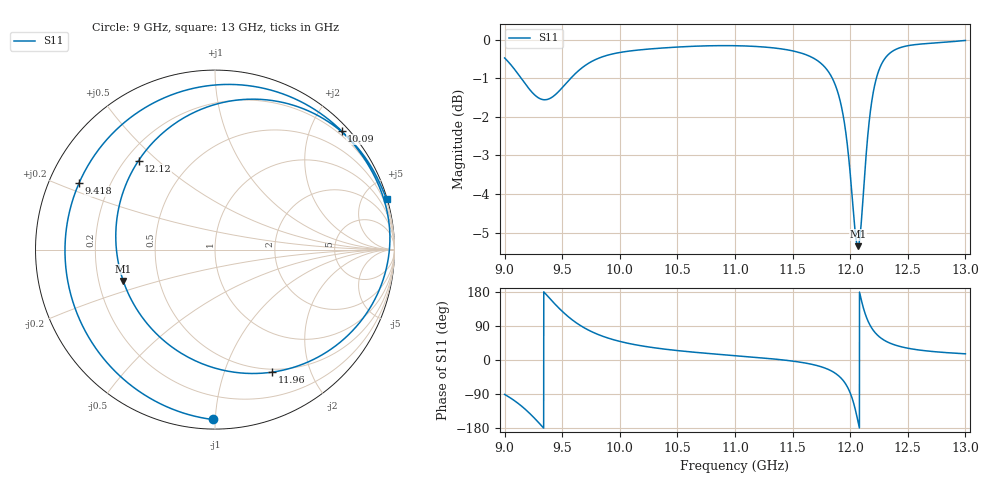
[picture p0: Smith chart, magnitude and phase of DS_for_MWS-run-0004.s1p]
! TOUCHSTONE file generated by CST DESIGN STUDIO
! Date and time: Tue Feb  4 16:20:39 2025
! Project name: C:\Work\MatlabApps\UnitCellOptimizationMatlab\CST\unitcell.cst
! Tree item: Tasks\Sweep1\SPara1\S-Parameters
! Header version: 2024
! Port assignment regex: !\s*Touchstone port\s*([0-9]+)\s*=\s*(CST MWS port|CST DES external port|CST DES block port)\s*(.+)\s* \(\"(.*)\"\)(\s*mode\s*([0-9]+))?.*
! Touchstone port assignment:
! Touchstone port 1 = CST DES external port 1 ("")
# GHz S MA R 50
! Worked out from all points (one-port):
!   4001 points, 9 GHz to 13 GHz, reference 50 ohm
!   lowest |S11| = -5.3 dB at 12.07 GHz (marker M1), VSWR 3.35, Z = 15.3 - j7.57 ohm
!   |S11| at or under -10 dB: nowhere
!   S11 on the Smith chart (normalised r, x): 9 GHz: 0.05, -0.98; 9.418 GHz: 0.09, +0.23; 10.09 GHz: 0.13, +2.52; 11.96 GHz: 0.46, -1.47; 12.12 GHz: 0.25, +0.44; 13 GHz: 0.06, +6.95
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9  0.9466 -90.8
9.099  0.9099 -110.3
9.189  0.8724 -132.7
9.31  0.8381 -170.0
9.418  0.8434 153.8
9.5  0.8663 128.5
9.584  0.8942 106.6
9.679  0.921 87.1
9.828  0.9475 65.3
10  0.9623 49.1
10.086  0.9665 43.2
10.5  0.9779 24.9
11  0.9819 11.5
11.5  0.9669 -2.9
11.816  0.9064 -25.7
11.9  0.8471 -41.8
11.964  0.7538 -64.9
12  0.6709 -86.9
12.033  0.5858 -117.3
12.067  0.5402 -161.1
12.093  0.5721 163.0
12.121  0.6537 130.6
12.149  0.741 106.7
12.18  0.8176 87.7
12.272  0.9296 56.8
12.365  0.9654 42.1
12.5  0.9818 31.1
13  0.9974 16.4
